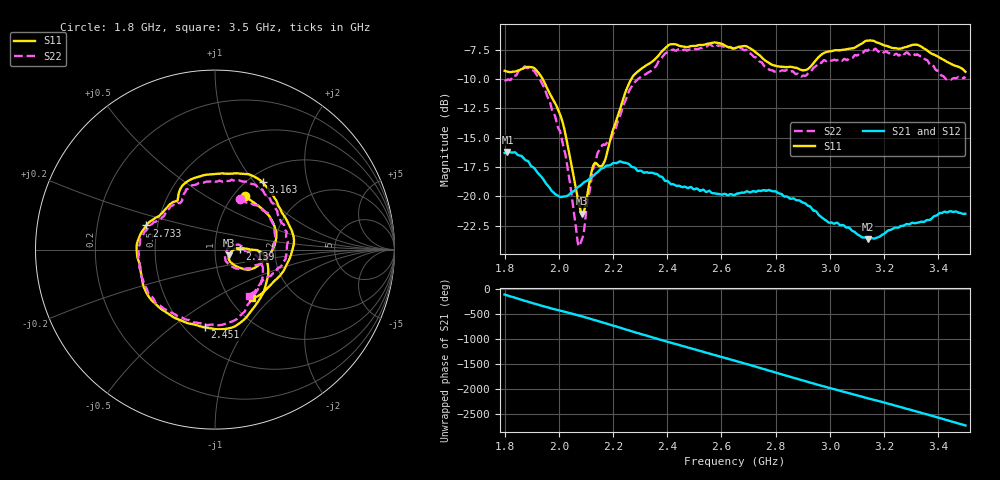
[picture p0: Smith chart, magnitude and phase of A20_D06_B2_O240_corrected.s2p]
! Created with skrf 1.9.0 (http://scikit-rf.org).
# Hz S RI R 50.0
!freq ReS11 ImS11 ReS21 ImS21 ReS12 ImS12 ReS22 ImS22
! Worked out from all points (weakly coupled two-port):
!   1601 points, 1.8 GHz to 3.5 GHz, reference 50 ohm
!   highest |S21| = -16.22 dB at 1.811 GHz (marker M1); lowest = -23.7 dB at 3.142 GHz (marker M2)
!   lowest |S11| = -21.5 dB at 2.087 GHz (marker M3), VSWR 1.18, Z = 58.3 - j3.76 ohm
!   |S11| at or under -10 dB: 1.941 GHz to 2.267 GHz (326.7 MHz wide, 15.5 % of centre)
!   |S22| runs from -24.3 to -7.0 dB; largest |S21 - S12| = 0.0025
!   S11 on the Smith chart (normalised r, x): 1.8 GHz: 1.12, +0.76; 2.139 GHz: 1.32, +0.01; 2.451 GHz: 0.62, -0.67; 2.733 GHz: 0.43, +0.14; 3.163 GHz: 1.16, +1.10; 3.5 GHz: 1.26, -0.77
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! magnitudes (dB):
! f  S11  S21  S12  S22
! 1.8 GHz  -9.3  -16.3  -16.3  -10.1
! 1.811 GHz  -9.4  -16.2  -16.2  -10.1
! 1.881 GHz  -9.0  -17.0  -17.0  -9.0
! 1.942 GHz  -10.1  -18.5  -18.5  -10.5
! 2.013 GHz  -13.6  -20.0  -20.0  -15.3
! 2.069 GHz  -20.0  -19.2  -19.3  -23.8
! 2.084 GHz  -21.4  -19.0  -19.0  -23.7
! 2.087 GHz  -21.5  -18.9  -18.9  -23.6
! 2.139 GHz  -17.2  -18.0  -18.0  -16.7
! 2.168 GHz  -17.1  -17.5  -17.5  -15.6
! 2.268 GHz  -10.0  -17.5  -17.4  -10.7
! 2.367 GHz  -8.0  -18.2  -18.1  -8.5
! 2.451 GHz  -7.2  -19.2  -19.2  -7.6
! 2.65 GHz  -7.4  -19.9  -19.8  -7.4
! 2.733 GHz  -7.8  -19.6  -19.6  -8.3
! 2.934 GHz  -8.8  -21.1  -21.0  -9.2
! 3.142 GHz  -6.7  -23.7  -23.5  -7.5
! 3.163 GHz  -6.8  -23.6  -23.6  -7.5
! 3.217 GHz  -7.2  -22.9  -22.9  -7.8
! 3.326 GHz  -7.1  -22.2  -22.2  -7.9
! 3.43 GHz  -8.5  -21.4  -21.3  -10.0
! 3.5 GHz  -9.4  -21.5  -21.5  -10.0
